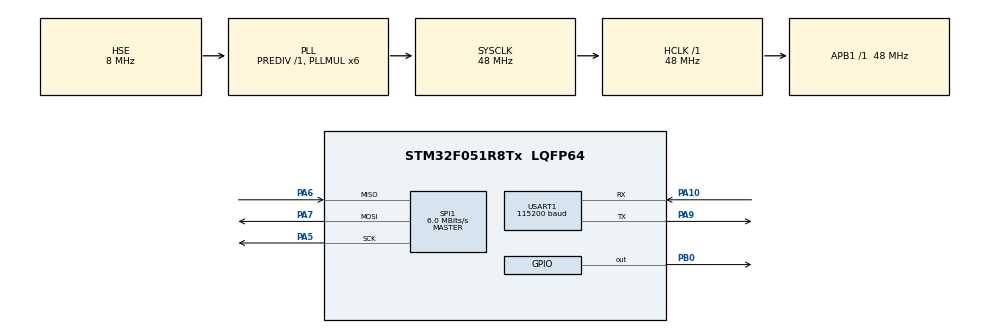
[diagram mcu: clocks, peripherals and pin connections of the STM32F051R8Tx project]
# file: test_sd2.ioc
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FATFS._MAX_SS=1024
FATFS._USE_LFN=1
Mcu.Family=STM32F0
Mcu.Name=STM32F051R8Tx
Mcu.Package=LQFP64
PA10.Mode=Asynchronous
PA10.Signal=USART1_RX
PA13.GPIO_Label=SWDIO
PA13.Mode=Serial_Wire
PA13.Signal=SYS_SWDIO
PA14.GPIO_Label=SWCLK
PA14.Mode=Serial_Wire
PA14.Signal=SYS_SWCLK
PA5.Mode=Full_Duplex_Master
PA5.Signal=SPI1_SCK
PA6.Mode=Full_Duplex_Master
PA6.Signal=SPI1_MISO
PA7.Mode=Full_Duplex_Master
PA7.Signal=SPI1_MOSI
PA9.Mode=Asynchronous
PA9.Signal=USART1_TX
PB0.Signal=GPIO_Output
PF0-OSC_IN.Mode=HSE-External-Oscillator
PF0-OSC_IN.Signal=RCC_OSC_IN
PF1-OSC_OUT.Mode=HSE-External-Oscillator
PF1-OSC_OUT.Signal=RCC_OSC_OUT
ProjectManager.HeapSize=0x200
ProjectManager.StackSize=0x400
ProjectManager.TargetToolchain=STM32CubeIDE
RCC.AHBFreq_Value=48000000
RCC.APB1Freq_Value=48000000
RCC.APB1TimFreq_Value=48000000
RCC.HCLKFreq_Value=48000000
RCC.PLLMUL=RCC_PLL_MUL6
RCC.PLLSourceVirtual=RCC_PLLSOURCE_HSE
RCC.SYSCLKFreq_VALUE=48000000
RCC.SYSCLKSource=RCC_SYSCLKSOURCE_PLLCLK
SPI1.BaudRatePrescaler=SPI_BAUDRATEPRESCALER_8
SPI1.CalculateBaudRate=6.0 MBits/s
SPI1.Direction=SPI_DIRECTION_2LINES
SPI1.Mode=SPI_MODE_MASTER
SPI1.VirtualType=VM_MASTER
USART1.BaudRate=115200
USART1.VirtualMode-Asynchronous=VM_ASYNC
VP_FATFS_VS_Generic.Mode=User_defined
board=STM32F0DISCOVERY

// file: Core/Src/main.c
/* USER CODE BEGIN Header */
/**
  ******************************************************************************
  * @file           : main.c
  * @brief          : Main program body
  ******************************************************************************
  * @attention
  *
  * <h2><center>&copy; Copyright (c) 2020 STMicroelectronics.
  * All rights reserved.</center></h2>
  *
  * This software component is licensed by ST under Ultimate Liberty license
  * SLA0044, the "License"; You may not use this file except in compliance with
  * the License. You may obtain a copy of the License at:
  *                             www.st.com/SLA0044
  *
  ******************************************************************************
  */
/* USER CODE END Header */

#include "main.h"
#include "fatfs.h"
#include "string.h"
#include "fatfs_sd.h"

SPI_HandleTypeDef hspi1;

UART_HandleTypeDef huart1;

void SystemClock_Config(void);
static void MX_GPIO_Init(void);
static void MX_SPI1_Init(void);
static void MX_USART1_UART_Init(void);
/* USER CODE BEGIN PFP */
FATFS fs;
FATFS *pfs;
FIL fil;
FRESULT fres;
DWORD fre_clust;
uint32_t total, free1;
char buffer[1024];

/* USER CODE END PFP */

/* USER CODE BEGIN 0 */
void send_uart (char *string)
{
	uint8_t len = strlen(string);
	HAL_UART_Transmit(&huart1, (uint8_t *) string, len, 2000);

}

int bufsize (char *buf)
{
	int i = 0;
	while (*buf++ != '\0'){
		 i++;
	}
	return i;
}

void bufclear (void)
{
	for(int i = 0; i<1024; i++)
	{
		buffer[i] = '\0';
	}
}

/* USER CODE END 0 */

int main(void)
{

  /* MCU Configuration--------------------------------------------------------*/

  /* Reset of all peripherals, Initializes the Flash interface and the Systick. */
  HAL_Init();

  /* Configure the system clock */
  SystemClock_Config();

  /* Initialize all configured peripherals */
  MX_GPIO_Init();
  MX_SPI1_Init();
  MX_USART1_UART_Init();
  MX_FATFS_Init();
  /* USER CODE BEGIN 2 */
  fres = f_mount(&fs, "", 0);
  if(fres != FR_OK) send_uart("error in mounting SD Card...\n");
  else send_uart("SD CARD mounted successfully...\n");

  // check free space
        f_getfree("", &fre_clust, &pfs);
        total = (uint32_t)((pfs->n_fatent - 2) * pfs->csize * 0.5);
        sprintf (buffer, "SD CARD Free Space: \t%lu\n",free1);
        bufclear();
        free1 = (uint32_t)(fre_clust * pfs->csize * 0.5);
        send_uart(buffer);

      // Open file to write
        fres = f_open(&fil, "file1.txt", FA_OPEN_ALWAYS | FA_READ | FA_WRITE);
      // writing text
        fres = f_puts("This data is from the First FILE\n\n", &fil);
        send_uart ("File1.txt created and the data is written \n");

      // close file
        fres = f_close(&fil);

        send_uart ("File1.txt created and the data is written \n");

      //open file to read
        fres = f_open(&fil, "file1.txt", FA_READ);

      //Read string from the file
        f_gets(buffer, fil.fsize, &fil);
        send_uart(buffer);
        f_close(&fil);
        bufclear();

  /* USER CODE END 2 */

  /* Infinite loop */
  while (1)
  {

  }
}

void SystemClock_Config(void)
{
  RCC_OscInitTypeDef RCC_OscInitStruct = {0};
  RCC_ClkInitTypeDef RCC_ClkInitStruct = {0};
  RCC_PeriphCLKInitTypeDef PeriphClkInit = {0};

  /** Initializes the CPU, AHB and APB busses clocks
  */
  RCC_OscInitStruct.OscillatorType = RCC_OSCILLATORTYPE_HSE;
  RCC_OscInitStruct.HSEState = RCC_HSE_ON;
  RCC_OscInitStruct.PLL.PLLState = RCC_PLL_ON;
  RCC_OscInitStruct.PLL.PLLSource = RCC_PLLSOURCE_HSE;
  RCC_OscInitStruct.PLL.PLLMUL = RCC_PLL_MUL6;
  RCC_OscInitStruct.PLL.PREDIV = RCC_PREDIV_DIV1;
  if (HAL_RCC_OscConfig(&RCC_OscInitStruct) != HAL_OK)
  {
    Error_Handler();
  }
  /** Initializes the CPU, AHB and APB busses clocks
  */
  RCC_ClkInitStruct.ClockType = RCC_CLOCKTYPE_HCLK|RCC_CLOCKTYPE_SYSCLK
                              |RCC_CLOCKTYPE_PCLK1;
  RCC_ClkInitStruct.SYSCLKSource = RCC_SYSCLKSOURCE_PLLCLK;
  RCC_ClkInitStruct.AHBCLKDivider = RCC_SYSCLK_DIV1;
  RCC_ClkInitStruct.APB1CLKDivider = RCC_HCLK_DIV1;

  if (HAL_RCC_ClockConfig(&RCC_ClkInitStruct, FLASH_LATENCY_1) != HAL_OK)
  {
    Error_Handler();
  }
  PeriphClkInit.PeriphClockSelection = RCC_PERIPHCLK_USART1;
  PeriphClkInit.Usart1ClockSelection = RCC_USART1CLKSOURCE_PCLK1;
  if (HAL_RCCEx_PeriphCLKConfig(&PeriphClkInit) != HAL_OK)
  {
    Error_Handler();
  }
}

static void MX_SPI1_Init(void)
{

  /* SPI1 parameter configuration*/
  hspi1.Instance = SPI1;
  hspi1.Init.Mode = SPI_MODE_MASTER;
  hspi1.Init.Direction = SPI_DIRECTION_2LINES;
  hspi1.Init.DataSize = SPI_DATASIZE_4BIT;
  hspi1.Init.CLKPolarity = SPI_POLARITY_LOW;
  hspi1.Init.CLKPhase = SPI_PHASE_1EDGE;
  hspi1.Init.NSS = SPI_NSS_SOFT;
  hspi1.Init.BaudRatePrescaler = SPI_BAUDRATEPRESCALER_8;
  hspi1.Init.FirstBit = SPI_FIRSTBIT_MSB;
  hspi1.Init.TIMode = SPI_TIMODE_DISABLE;
  hspi1.Init.CRCCalculation = SPI_CRCCALCULATION_DISABLE;
  hspi1.Init.CRCPolynomial = 7;
  hspi1.Init.CRCLength = SPI_CRC_LENGTH_DATASIZE;
  hspi1.Init.NSSPMode = SPI_NSS_PULSE_ENABLE;
  if (HAL_SPI_Init(&hspi1) != HAL_OK)
  {
    Error_Handler();
  }

}

static void MX_USART1_UART_Init(void)
{

  huart1.Instance = USART1;
  huart1.Init.BaudRate = 115200;
  huart1.Init.WordLength = UART_WORDLENGTH_8B;
  huart1.Init.StopBits = UART_STOPBITS_1;
  huart1.Init.Parity = UART_PARITY_NONE;
  huart1.Init.Mode = UART_MODE_TX_RX;
  huart1.Init.HwFlowCtl = UART_HWCONTROL_NONE;
  huart1.Init.OverSampling = UART_OVERSAMPLING_16;
  huart1.Init.OneBitSampling = UART_ONE_BIT_SAMPLE_DISABLE;
  huart1.AdvancedInit.AdvFeatureInit = UART_ADVFEATURE_NO_INIT;
  if (HAL_UART_Init(&huart1) != HAL_OK)
  {
    Error_Handler();
  }

}

static void MX_GPIO_Init(void)
{
  GPIO_InitTypeDef GPIO_InitStruct = {0};

  /* GPIO Ports Clock Enable */
  __HAL_RCC_GPIOF_CLK_ENABLE();
  __HAL_RCC_GPIOA_CLK_ENABLE();
  __HAL_RCC_GPIOB_CLK_ENABLE();

  /*Configure GPIO pin Output Level */
  HAL_GPIO_WritePin(GPIOB, GPIO_PIN_0, GPIO_PIN_RESET);

  /*Configure GPIO pin : PB0 */
  GPIO_InitStruct.Pin = GPIO_PIN_0;
  GPIO_InitStruct.Mode = GPIO_MODE_OUTPUT_PP;
  GPIO_InitStruct.Pull = GPIO_NOPULL;
  GPIO_InitStruct.Speed = GPIO_SPEED_FREQ_LOW;
  HAL_GPIO_Init(GPIOB, &GPIO_InitStruct);

}

void Error_Handler(void)
{
}

/************************ (C) COPYRIGHT STMicroelectronics *****END OF FILE****/
